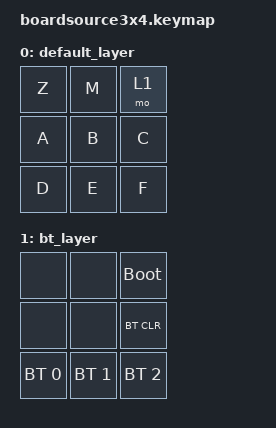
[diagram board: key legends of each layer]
#include <behaviors.dtsi>
#include <dt-bindings/zmk/keys.h>
#include <dt-bindings/zmk/bt.h>

/ {
    keymap {
        compatible = "zmk,keymap";

        default_layer {
            bindings = <
                &kp Z    &kp M    &mo 1
                &kp A    &kp B    &kp C
                &kp D    &kp E    &kp F
            >;

        };

        bt_layer {
            bindings = <
                &none   &none   &bootloader
                &none   &none   &bt BT_CLR
                &bt BT_SEL 0    &bt BT_SEL 1    &bt BT_SEL 2
            >;
        };
    };
};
